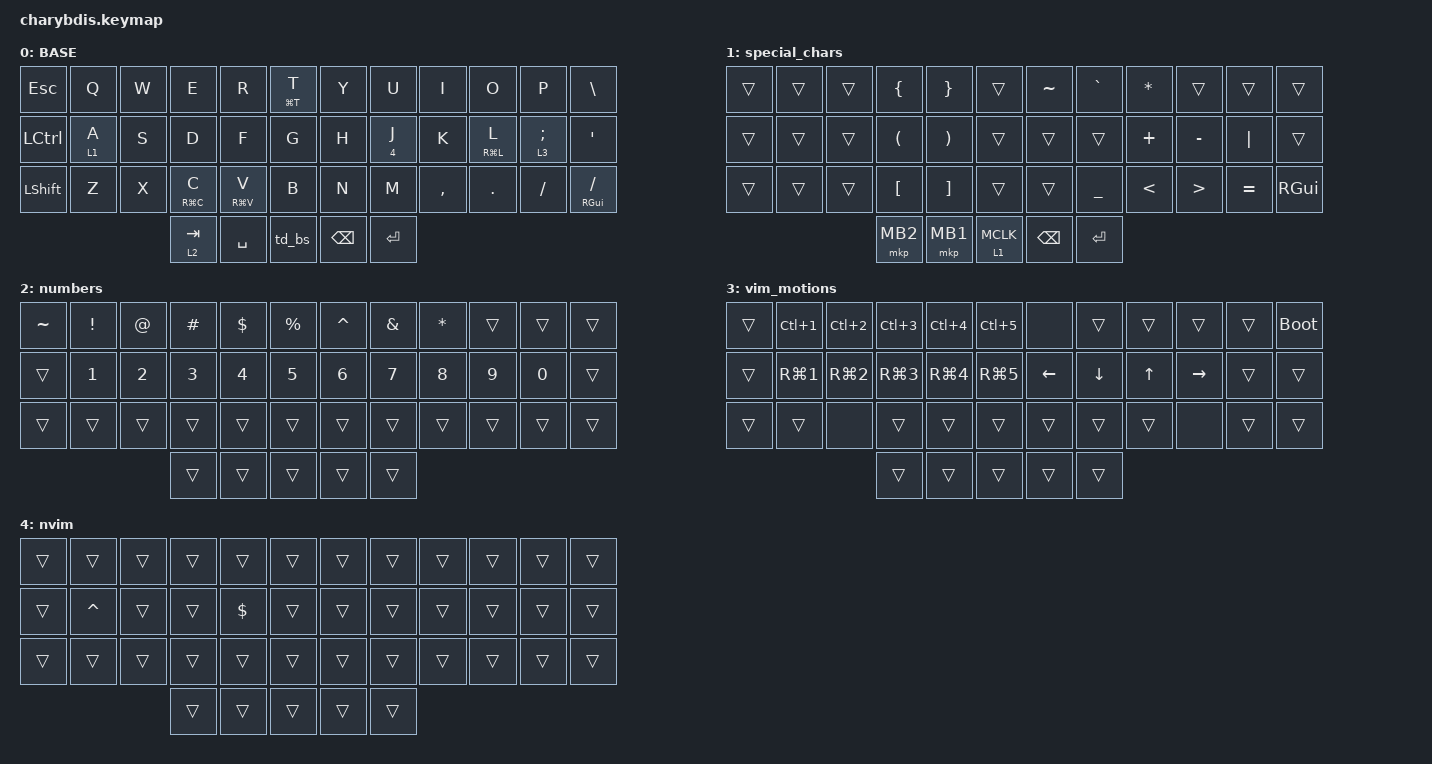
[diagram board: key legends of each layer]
/* upstream bindings and behaviors */

#include <dt-bindings/zmk/mouse.h>
#include <behaviors/mouse_keys.dtsi>
#include <behaviors.dtsi>
#include <dt-bindings/zmk/keys.h>
#include <dt-bindings/zmk/pointing.h>

/* local overlays */

#include "macros.dtsi"
#include "behaviors.dtsi"
#include "combos.dtsi"

/ {
    /* --- KEYMAP CONFIG --- */
    // ╭──────┬──────┬──────┬──────┬──────┬──────╮  ╭──────┬──────┬──────┬──────┬──────┬──────╮
    //    00     01     02     03    04      05        06     07     08     09     10     11
    // ├──────┼──────┼──────┼──────┼──────┼──────┤  ├──────┼──────┼──────┼──────┼──────┼──────┤
    //    12     13     14     15    16      17        18     19     20     21     22     23
    // ├──────┼──────┼──────┼──────┼──────┼──────┤  ├──────┼──────┼──────┼──────┼──────┼──────┤
    //    24     25     26     27    28      29        30     31     32     33     34     35
    // ╰──────┴──────┴──────┼──────┼──────┼──────┤  ├──────┼──────┼──────┴──────┴──────┴──────╯
    //                         36     37     38        39     40
    //                      ╰──────┴──────┴──────╯  ╰──────┴──────╯
    // #define BASE    0
    // #define NUM     1
    // #define NAV     2
    // #define SYM     3
    // #define GAME    4
    // #define EXTRAS  5
    // #define SLOW    6
    // #define SCROLL  7

    combos {
        compatible = "zmk,combos";

        scroll {
            bindings = <&mkp MB3>;
            key-positions = <13 38>;
        };

        spotlight {
            bindings = <&kp RG(SPACE)>;
            key-positions = <37 40>;
        };
    };

    behaviors {
        cmd_plus: cmd_plus {
            compatible = "zmk,behavior-hold-tap";
            label = "CMD_PLUS";
            bindings = <&kp>, <&kp>;

            #binding-cells = <2>;
            tapping-term-ms = <290>;
            flavor = "tap-preferred";
        };

        scroll: scroll {
            compatible = "zmk,behavior-hold-tap";
            label = "SCROLL";
            bindings = <&mo>, <&mkp>;

            #binding-cells = <2>;
            tapping-term-ms = <200>;
            flavor = "hold-preferred";
        };

        // scroll_motion: scroll_motion {
        //     compatible = "zmk,behavior-sensor-rotate";
        //     label = "ScrollMode";
        //     bindings = <&msc MOVE_VERT(-15)>, <&msc MOVE_VERT(15)>;
        // };

        homerow: homerow {
            compatible = "zmk,behavior-hold-tap";
            label = "HOMEROW";
            bindings = <&lt>, <&kp>;

            #binding-cells = <2>;
            tapping-term-ms = <300>;
            flavor = "tap-preferred";
        };
    };

    keymap {
        compatible = "zmk,keymap";

        BASE {
            bindings = <
&kp ESCAPE      &kp Q    &kp W  &kp E              &kp R              &cmd_plus LG(T) T    &kp Y          &kp U         &kp I      &kp O              &kp P            &kp BACKSLASH
&kp LCTRL       &lt 1 A  &kp S  &kp D              &kp F              &kp G                &kp H          &homerow 4 J  &kp K      &cmd_plus RG(L) L  &lt 3 SEMICOLON  &kp SINGLE_QUOTE
&kp LEFT_SHIFT  &kp Z    &kp X  &cmd_plus RG(C) C  &cmd_plus RG(V) V  &kp B                &kp N          &kp M         &kp COMMA  &kp PERIOD         &kp SLASH        &mt RIGHT_GUI SLASH
                                &lt 2 TAB          &kp SPACE          &td_bs               &kp BACKSPACE  &kp ENTER
            >;
        };

        special_chars {
            bindings = <
&trans  &trans  &trans  &kp LEFT_BRACE        &kp RIGHT_BRACE        &trans            &kp TILDE      &kp GRAVE       &kp ASTERISK   &trans            &trans     &trans
&trans  &trans  &trans  &kp LEFT_PARENTHESIS  &kp RIGHT_PARENTHESIS  &trans            &trans         &trans          &kp PLUS       &kp MINUS         &kp PIPE   &trans
&trans  &trans  &trans  &kp LEFT_BRACKET      &kp RIGHT_BRACKET      &trans            &trans         &kp UNDERSCORE  &kp LESS_THAN  &kp GREATER_THAN  &kp EQUAL  &kp RGUI
                        &mkp MB2              &mkp MB1               &scroll 1 MCLK    &kp BACKSPACE  &kp ENTER
            >;
        };

        numbers {
            bindings = <
&kp TILDE  &kp EXCLAMATION  &kp AT_SIGN   &kp HASH      &kp DOLLAR    &kp PERCENT     &kp CARET     &kp AMPERSAND  &kp ASTERISK  &trans  &trans  &trans
&trans     &kp NUMBER_1     &kp NUMBER_2  &kp NUMBER_3  &kp NUMBER_4  &kp NUMBER_5    &kp NUMBER_6  &kp N7         &kp N8        &kp N9  &kp N0  &trans
&trans     &trans           &trans        &trans        &trans        &trans          &trans        &trans         &trans        &trans  &trans  &trans
                                          &trans        &trans        &trans          &trans        &trans
            >;
        };

        vim_motions {
            bindings = <
&trans  &kp LC(NUMBER_1)  &kp LC(NUMBER_2)  &kp LC(NUMBER_3)  &kp LC(NUMBER_4)  &kp LC(N5)          &none           &trans    &trans        &trans     &trans  &bootloader
&trans  &kp RG(NUMBER_1)  &kp RG(NUMBER_2)  &kp RG(NUMBER_3)  &kp RG(NUMBER_4)  &kp RG(NUMBER_5)    &kp LEFT_ARROW  &kp DOWN  &kp UP_ARROW  &kp RIGHT  &trans  &trans
&trans  &trans            &none             &trans            &trans            &trans              &trans          &trans    &trans        &none      &trans  &trans
                                            &trans            &trans            &trans              &trans          &trans
            >;
        };

        nvim {
            bindings = <
&trans  &trans     &trans  &trans  &trans      &trans    &trans  &trans  &trans  &trans  &trans  &trans
&trans  &kp CARET  &trans  &trans  &kp DOLLAR  &trans    &trans  &trans  &trans  &trans  &trans  &trans
&trans  &trans     &trans  &trans  &trans      &trans    &trans  &trans  &trans  &trans  &trans  &trans
                           &trans  &trans      &trans    &trans  &trans
            >;
        };
    };
};
